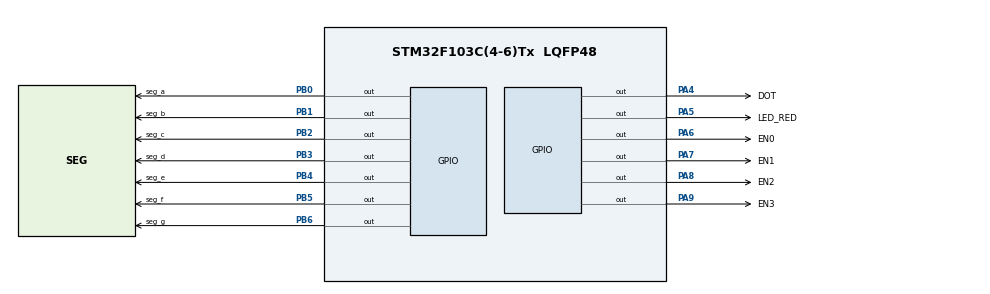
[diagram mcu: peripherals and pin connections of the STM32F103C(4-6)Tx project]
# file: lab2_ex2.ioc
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Mcu.Family=STM32F1
Mcu.Name=STM32F103C(4-6)Tx
Mcu.Package=LQFP48
NVIC.PriorityGroup=NVIC_PRIORITYGROUP_4
NVIC.TIM2_IRQn=true\:0\:0\:false\:false\:true\:true\:true\:true
PA4.GPIO_Label=DOT
PA4.Signal=GPIO_Output
PA5.GPIO_Label=LED_RED
PA5.Signal=GPIO_Output
PA6.GPIO_Label=EN0
PA6.Signal=GPIO_Output
PA7.GPIO_Label=EN1
PA7.Signal=GPIO_Output
PA8.GPIO_Label=EN2
PA8.Signal=GPIO_Output
PA9.GPIO_Label=EN3
PA9.Signal=GPIO_Output
PB0.GPIO_Label=seg_a
PB0.Signal=GPIO_Output
PB1.GPIO_Label=seg_b
PB1.Signal=GPIO_Output
PB2.GPIO_Label=seg_c
PB2.Signal=GPIO_Output
PB3.GPIO_Label=seg_d
PB3.Signal=GPIO_Output
PB4.GPIO_Label=seg_e
PB4.Signal=GPIO_Output
PB5.GPIO_Label=seg_f
PB5.Signal=GPIO_Output
PB6.GPIO_Label=seg_g
PB6.Signal=GPIO_Output
ProjectManager.HeapSize=0x200
ProjectManager.StackSize=0x400
ProjectManager.TargetToolchain=STM32CubeIDE
RCC.APB1Freq_Value=8000000
RCC.APB2Freq_Value=8000000
TIM2.Period=9
TIM2.Prescaler=7999
VP_TIM2_VS_ClockSourceINT.Mode=Internal
board=custom

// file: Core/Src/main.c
/* USER CODE BEGIN Header */
/**
  ******************************************************************************
  * @file           : main.c
  * @brief          : Main program body
  ******************************************************************************
  * @attention
  *
  * Copyright (c) 2022 STMicroelectronics.
  * All rights reserved.
  *
  * This software is licensed under terms that can be found in the LICENSE file
  * in the root directory of this software component.
  * If no LICENSE file comes with this software, it is provided AS-IS.
  *
  ******************************************************************************
  */
/* USER CODE END Header */
#include "main.h"

/* USER CODE BEGIN Includes */
#include "software_timer.h"
/* USER CODE END Includes */

TIM_HandleTypeDef htim2;

void SystemClock_Config(void);
void display7SEG(int)
static void MX_GPIO_Init(void);
static void MX_TIM2_Init(void);

int main(void)
{

  /* MCU Configuration--------------------------------------------------------*/

  /* Reset of all peripherals, Initializes the Flash interface and the Systick. */
  HAL_Init();

  /* Configure the system clock */
  SystemClock_Config();

  /* Initialize all configured peripherals */
  MX_GPIO_Init();
  MX_TIM2_Init();
  /* USER CODE BEGIN 2 */
  HAL_TIM_Base_Start_IT (& htim2 );

  /* USER CODE END 2 */

  /* Infinite loop */
  /* USER CODE BEGIN WHILE */
  setTimer1(50);
  setTimer2(100);
 int led_num = 0;
  while (1)
  {
    /* USER CODE END WHILE */
		if( timer1_flag == 1) {
			if (led_num == 0){
				HAL_GPIO_WritePin(EN0_GPIO_Port, EN0_Pin, GPIO_PIN_RESET);
				HAL_GPIO_WritePin(EN1_GPIO_Port, EN1_Pin, GPIO_PIN_SET);
				HAL_GPIO_WritePin(EN2_GPIO_Port, EN2_Pin, GPIO_PIN_SET);
				HAL_GPIO_WritePin(EN3_GPIO_Port, EN3_Pin, GPIO_PIN_SET);
				display7SEG(1);
			}
			if (led_num == 1){
				HAL_GPIO_WritePin(EN0_GPIO_Port, EN0_Pin, GPIO_PIN_SET);
				HAL_GPIO_WritePin(EN1_GPIO_Port, EN1_Pin, GPIO_PIN_RESET);
				HAL_GPIO_WritePin(EN2_GPIO_Port, EN2_Pin, GPIO_PIN_SET);
				HAL_GPIO_WritePin(EN3_GPIO_Port, EN3_Pin, GPIO_PIN_SET);
				display7SEG(2);
			}			if (led_num == 2){
				HAL_GPIO_WritePin(EN0_GPIO_Port, EN0_Pin, GPIO_PIN_SET);
				HAL_GPIO_WritePin(EN1_GPIO_Port, EN1_Pin, GPIO_PIN_SET);
				HAL_GPIO_WritePin(EN2_GPIO_Port, EN2_Pin, GPIO_PIN_RESET);
				HAL_GPIO_WritePin(EN3_GPIO_Port, EN3_Pin, GPIO_PIN_SET);
				display7SEG(3);
			}			if (led_num == 3){
				HAL_GPIO_WritePin(EN0_GPIO_Port, EN0_Pin, GPIO_PIN_SET);
				HAL_GPIO_WritePin(EN1_GPIO_Port, EN1_Pin, GPIO_PIN_SET);
				HAL_GPIO_WritePin(EN2_GPIO_Port, EN2_Pin, GPIO_PIN_SET);
				HAL_GPIO_WritePin(EN3_GPIO_Port, EN3_Pin, GPIO_PIN_RESET);
				display7SEG(0);
			}
			led_num +=1;
			led_num %=4;
			setTimer1(50);

		}
		if (timer2_flag == 1){
			HAL_GPIO_TogglePin(DOT_GPIO_Port, DOT_Pin);
			setTimer2(100);
		}
  }
}

void SystemClock_Config(void)
{
  RCC_OscInitTypeDef RCC_OscInitStruct = {0};
  RCC_ClkInitTypeDef RCC_ClkInitStruct = {0};

  /** Initializes the RCC Oscillators according to the specified parameters
  * in the RCC_OscInitTypeDef structure.
  */
  RCC_OscInitStruct.OscillatorType = RCC_OSCILLATORTYPE_HSI;
  RCC_OscInitStruct.HSIState = RCC_HSI_ON;
  RCC_OscInitStruct.HSICalibrationValue = RCC_HSICALIBRATION_DEFAULT;
  RCC_OscInitStruct.PLL.PLLState = RCC_PLL_NONE;
  if (HAL_RCC_OscConfig(&RCC_OscInitStruct) != HAL_OK)
  {
    Error_Handler();
  }

  /** Initializes the CPU, AHB and APB buses clocks
  */
  RCC_ClkInitStruct.ClockType = RCC_CLOCKTYPE_HCLK|RCC_CLOCKTYPE_SYSCLK
                              |RCC_CLOCKTYPE_PCLK1|RCC_CLOCKTYPE_PCLK2;
  RCC_ClkInitStruct.SYSCLKSource = RCC_SYSCLKSOURCE_HSI;
  RCC_ClkInitStruct.AHBCLKDivider = RCC_SYSCLK_DIV1;
  RCC_ClkInitStruct.APB1CLKDivider = RCC_HCLK_DIV1;
  RCC_ClkInitStruct.APB2CLKDivider = RCC_HCLK_DIV1;

  if (HAL_RCC_ClockConfig(&RCC_ClkInitStruct, FLASH_LATENCY_0) != HAL_OK)
  {
    Error_Handler();
  }
}

static void MX_TIM2_Init(void)
{

  TIM_ClockConfigTypeDef sClockSourceConfig = {0};
  TIM_MasterConfigTypeDef sMasterConfig = {0};

  htim2.Instance = TIM2;
  htim2.Init.Prescaler = 7999;
  htim2.Init.CounterMode = TIM_COUNTERMODE_UP;
  htim2.Init.Period = 9;
  htim2.Init.ClockDivision = TIM_CLOCKDIVISION_DIV1;
  htim2.Init.AutoReloadPreload = TIM_AUTORELOAD_PRELOAD_DISABLE;
  if (HAL_TIM_Base_Init(&htim2) != HAL_OK)
  {
    Error_Handler();
  }
  sClockSourceConfig.ClockSource = TIM_CLOCKSOURCE_INTERNAL;
  if (HAL_TIM_ConfigClockSource(&htim2, &sClockSourceConfig) != HAL_OK)
  {
    Error_Handler();
  }
  sMasterConfig.MasterOutputTrigger = TIM_TRGO_RESET;
  sMasterConfig.MasterSlaveMode = TIM_MASTERSLAVEMODE_DISABLE;
  if (HAL_TIMEx_MasterConfigSynchronization(&htim2, &sMasterConfig) != HAL_OK)
  {
    Error_Handler();
  }

}

static void MX_GPIO_Init(void)
{
  GPIO_InitTypeDef GPIO_InitStruct = {0};

  /* GPIO Ports Clock Enable */
  __HAL_RCC_GPIOA_CLK_ENABLE();
  __HAL_RCC_GPIOB_CLK_ENABLE();

  /*Configure GPIO pin Output Level */
  HAL_GPIO_WritePin(GPIOA, DOT_Pin|LED_RED_Pin|EN0_Pin|EN1_Pin
                          |EN2_Pin|EN3_Pin, GPIO_PIN_RESET);

  /*Configure GPIO pin Output Level */
  HAL_GPIO_WritePin(GPIOB, seg_a_Pin|seg_b_Pin|seg_c_Pin|seg_d_Pin
                          |seg_e_Pin|seg_f_Pin|seg_g_Pin, GPIO_PIN_RESET);

  /*Configure GPIO pins : DOT_Pin LED_RED_Pin EN0_Pin EN1_Pin
                           EN2_Pin EN3_Pin */
  GPIO_InitStruct.Pin = DOT_Pin|LED_RED_Pin|EN0_Pin|EN1_Pin
                          |EN2_Pin|EN3_Pin;
  GPIO_InitStruct.Mode = GPIO_MODE_OUTPUT_PP;
  GPIO_InitStruct.Pull = GPIO_NOPULL;
  GPIO_InitStruct.Speed = GPIO_SPEED_FREQ_LOW;
  HAL_GPIO_Init(GPIOA, &GPIO_InitStruct);

  /*Configure GPIO pins : seg_a_Pin seg_b_Pin seg_c_Pin seg_d_Pin
                           seg_e_Pin seg_f_Pin seg_g_Pin */
  GPIO_InitStruct.Pin = seg_a_Pin|seg_b_Pin|seg_c_Pin|seg_d_Pin
                          |seg_e_Pin|seg_f_Pin|seg_g_Pin;
  GPIO_InitStruct.Mode = GPIO_MODE_OUTPUT_PP;
  GPIO_InitStruct.Pull = GPIO_NOPULL;
  GPIO_InitStruct.Speed = GPIO_SPEED_FREQ_LOW;
  HAL_GPIO_Init(GPIOB, &GPIO_InitStruct);

}

/* USER CODE BEGIN 4 */
void display7SEG(int num){
		if(num  == 0){
		  	  HAL_GPIO_WritePin(seg_g_GPIO_Port, seg_g_Pin, GPIO_PIN_SET);
		  	  HAL_GPIO_WritePin(seg_f_GPIO_Port, seg_f_Pin, GPIO_PIN_RESET);
		  	  HAL_GPIO_WritePin(seg_a_GPIO_Port, seg_a_Pin, GPIO_PIN_RESET);
		  	  HAL_GPIO_WritePin(seg_b_GPIO_Port, seg_b_Pin, GPIO_PIN_RESET);
		  	  HAL_GPIO_WritePin(seg_c_GPIO_Port, seg_c_Pin, GPIO_PIN_RESET);
		  	  HAL_GPIO_WritePin(seg_d_GPIO_Port, seg_d_Pin, GPIO_PIN_RESET);
		  	  HAL_GPIO_WritePin(seg_e_GPIO_Port, seg_e_Pin, GPIO_PIN_RESET);

		  	};
		  	if(num  == 1){
		  	  HAL_GPIO_WritePin(seg_g_GPIO_Port, seg_g_Pin, GPIO_PIN_SET);
		  	  HAL_GPIO_WritePin(seg_f_GPIO_Port, seg_f_Pin, GPIO_PIN_SET);
		  	  HAL_GPIO_WritePin(seg_a_GPIO_Port, seg_a_Pin, GPIO_PIN_SET);
		  	  HAL_GPIO_WritePin(seg_b_GPIO_Port, seg_b_Pin, GPIO_PIN_RESET);
		  	  HAL_GPIO_WritePin(seg_c_GPIO_Port, seg_c_Pin, GPIO_PIN_RESET);
		  	  HAL_GPIO_WritePin(seg_d_GPIO_Port, seg_d_Pin, GPIO_PIN_SET);
		  	  HAL_GPIO_WritePin(seg_e_GPIO_Port, seg_e_Pin, GPIO_PIN_SET);

		  };
		  if(num  == 2){
		  	  HAL_GPIO_WritePin(seg_g_GPIO_Port, seg_g_Pin, GPIO_PIN_RESET);
		  	  HAL_GPIO_WritePin(seg_f_GPIO_Port, seg_f_Pin, GPIO_PIN_SET);
		  	  HAL_GPIO_WritePin(seg_a_GPIO_Port, seg_a_Pin, GPIO_PIN_RESET);
		  	  HAL_GPIO_WritePin(seg_b_GPIO_Port, seg_b_Pin, GPIO_PIN_RESET);
		  	  HAL_GPIO_WritePin(seg_c_GPIO_Port, seg_c_Pin, GPIO_PIN_SET);
		  	  HAL_GPIO_WritePin(seg_d_GPIO_Port, seg_d_Pin, GPIO_PIN_RESET);
		  	  HAL_GPIO_WritePin(seg_e_GPIO_Port, seg_e_Pin, GPIO_PIN_RESET);

		  };
		  if(num  == 3){
		  	  HAL_GPIO_WritePin(seg_g_GPIO_Port, seg_g_Pin, GPIO_PIN_RESET);
		  	  HAL_GPIO_WritePin(seg_f_GPIO_Port, seg_f_Pin, GPIO_PIN_SET);
		  	  HAL_GPIO_WritePin(seg_a_GPIO_Port, seg_a_Pin, GPIO_PIN_RESET);
		  	  HAL_GPIO_WritePin(seg_b_GPIO_Port, seg_b_Pin, GPIO_PIN_RESET);
		  	  HAL_GPIO_WritePin(seg_c_GPIO_Port, seg_c_Pin, GPIO_PIN_RESET);
		  	  HAL_GPIO_WritePin(seg_d_GPIO_Port, seg_d_Pin, GPIO_PIN_RESET);
		  	  HAL_GPIO_WritePin(seg_e_GPIO_Port, seg_e_Pin, GPIO_PIN_SET);

		  }
		  if(num  == 4){
		  	  HAL_GPIO_WritePin(seg_g_GPIO_Port, seg_g_Pin, GPIO_PIN_RESET);
		  	  HAL_GPIO_WritePin(seg_f_GPIO_Port, seg_f_Pin, GPIO_PIN_RESET);
		  	  HAL_GPIO_WritePin(seg_a_GPIO_Port, seg_a_Pin, GPIO_PIN_SET);
		  	  HAL_GPIO_WritePin(seg_b_GPIO_Port, seg_b_Pin, GPIO_PIN_RESET);
		  	  HAL_GPIO_WritePin(seg_c_GPIO_Port, seg_c_Pin, GPIO_PIN_RESET);
		  	  HAL_GPIO_WritePin(seg_d_GPIO_Port, seg_d_Pin, GPIO_PIN_SET);
		  	  HAL_GPIO_WritePin(seg_e_GPIO_Port, seg_e_Pin, GPIO_PIN_SET);

		  };
		  if(num  == 5){
		  	  HAL_GPIO_WritePin(seg_g_GPIO_Port, seg_g_Pin, GPIO_PIN_RESET);
		  	  HAL_GPIO_WritePin(seg_f_GPIO_Port, seg_f_Pin, GPIO_PIN_RESET);
		  	  HAL_GPIO_WritePin(seg_a_GPIO_Port, seg_a_Pin, GPIO_PIN_RESET);
		  	  HAL_GPIO_WritePin(seg_b_GPIO_Port, seg_b_Pin, GPIO_PIN_SET);
		  	  HAL_GPIO_WritePin(seg_c_GPIO_Port, seg_c_Pin, GPIO_PIN_RESET);
		  	  HAL_GPIO_WritePin(seg_d_GPIO_Port, seg_d_Pin, GPIO_PIN_RESET);
		  	  HAL_GPIO_WritePin(seg_e_GPIO_Port, seg_e_Pin, GPIO_PIN_SET);

		  };
		  if(num  == 6){
		  	  HAL_GPIO_WritePin(seg_g_GPIO_Port, seg_g_Pin, GPIO_PIN_RESET);
		  	  HAL_GPIO_WritePin(seg_f_GPIO_Port, seg_f_Pin, GPIO_PIN_RESET);
		  	  HAL_GPIO_WritePin(seg_a_GPIO_Port, seg_a_Pin, GPIO_PIN_RESET);
		  	  HAL_GPIO_WritePin(seg_b_GPIO_Port, seg_b_Pin, GPIO_PIN_SET);
		  	  HAL_GPIO_WritePin(seg_c_GPIO_Port, seg_c_Pin, GPIO_PIN_RESET);
		  	  HAL_GPIO_WritePin(seg_d_GPIO_Port, seg_d_Pin, GPIO_PIN_RESET);
		  	  HAL_GPIO_WritePin(seg_e_GPIO_Port, seg_e_Pin, GPIO_PIN_RESET);

		  };
		  if(num  == 7){
		  	  HAL_GPIO_WritePin(seg_g_GPIO_Port, seg_g_Pin, GPIO_PIN_SET);
		  	  HAL_GPIO_WritePin(seg_f_GPIO_Port, seg_f_Pin, GPIO_PIN_SET);
		  	  HAL_GPIO_WritePin(seg_a_GPIO_Port, seg_a_Pin, GPIO_PIN_RESET);
		  	  HAL_GPIO_WritePin(seg_b_GPIO_Port, seg_b_Pin, GPIO_PIN_RESET);
		  	  HAL_GPIO_WritePin(seg_c_GPIO_Port, seg_c_Pin, GPIO_PIN_RESET);
		  	  HAL_GPIO_WritePin(seg_d_GPIO_Port, seg_d_Pin, GPIO_PIN_SET);
		  	  HAL_GPIO_WritePin(seg_e_GPIO_Port, seg_e_Pin, GPIO_PIN_SET);

		  };
		  if(num  == 8){
		  	  HAL_GPIO_WritePin(seg_g_GPIO_Port, seg_g_Pin, GPIO_PIN_RESET);
		  	  HAL_GPIO_WritePin(seg_f_GPIO_Port, seg_f_Pin, GPIO_PIN_RESET);
		  	  HAL_GPIO_WritePin(seg_a_GPIO_Port, seg_a_Pin, GPIO_PIN_RESET);
		  	  HAL_GPIO_WritePin(seg_b_GPIO_Port, seg_b_Pin, GPIO_PIN_RESET);
		  	  HAL_GPIO_WritePin(seg_c_GPIO_Port, seg_c_Pin, GPIO_PIN_RESET);
		  	  HAL_GPIO_WritePin(seg_d_GPIO_Port, seg_d_Pin, GPIO_PIN_RESET);
		  	  HAL_GPIO_WritePin(seg_e_GPIO_Port, seg_e_Pin, GPIO_PIN_RESET);

		  }
		  if(num  == 9){
		  	  HAL_GPIO_WritePin(seg_g_GPIO_Port, seg_g_Pin, GPIO_PIN_RESET);
		  	  HAL_GPIO_WritePin(seg_f_GPIO_Port, seg_f_Pin, GPIO_PIN_RESET);
		  	  HAL_GPIO_WritePin(seg_a_GPIO_Port, seg_a_Pin, GPIO_PIN_RESET);
		  	  HAL_GPIO_WritePin(seg_b_GPIO_Port, seg_b_Pin, GPIO_PIN_RESET);
		  	  HAL_GPIO_WritePin(seg_c_GPIO_Port, seg_c_Pin, GPIO_PIN_RESET);
		  	  HAL_GPIO_WritePin(seg_d_GPIO_Port, seg_d_Pin, GPIO_PIN_RESET);
		  	  HAL_GPIO_WritePin(seg_e_GPIO_Port, seg_e_Pin, GPIO_PIN_SET);

		  };
}

void HAL_TIM_PeriodElapsedCallback( TIM_HandleTypeDef * htim )
{
	timerRun();
}

/* USER CODE END 4 */

void Error_Handler(void)
{
  __disable_irq();
  while (1)
  {
  }
}
